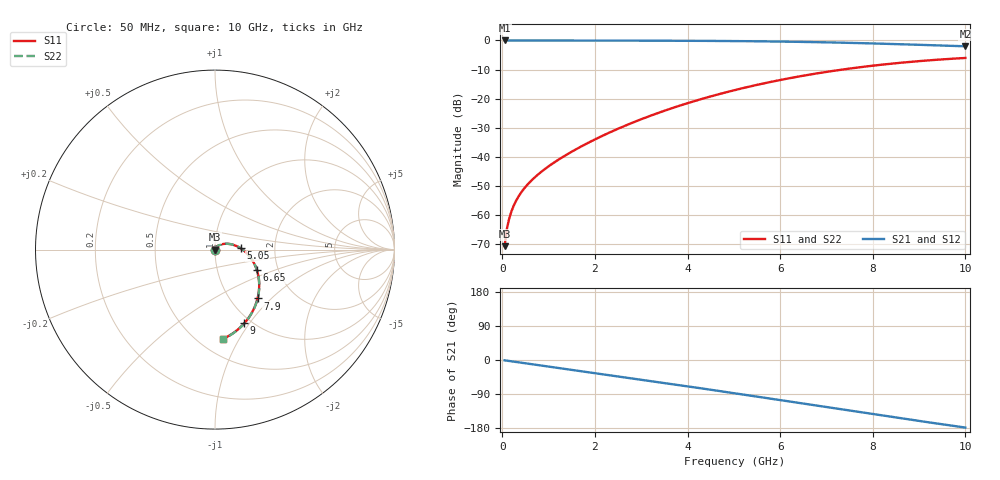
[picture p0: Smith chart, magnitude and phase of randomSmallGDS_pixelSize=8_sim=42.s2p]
! freq	dB(S11)	phase(S11)	dB(S12)	phase(S12)
!  dB(S21)	phase(S21)	dB(S22)	phase(S22)
!S-par simulation data
#  GHz  S  DB  R 50
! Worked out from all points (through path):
!   200 points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, 50 MHz to 10 GHz, reference 50 ohm
!   highest |S21| = 0.00 dB at 50 MHz (marker M1); lowest = -2.0 dB at 10 GHz (marker M2)
!   group delay of S21, straight-line fit = 49.9 ps
!   lowest |S11| = -70.6 dB at 50 MHz (marker M3), VSWR 1.00, Z = 50 + j0.0292 ohm
!   |S11| at or under -10 dB: start of sweep to 7.34 GHz
!   |S22| runs from -70.6 to -6.0 dB; largest |S21 - S12| = 0
!   S11 on the Smith chart (normalised r, x): 50 MHz: 1.00, +0.00; 5.05 GHz: 1.33, +0.02; 6.65 GHz: 1.55, -0.38; 7.9 GHz: 1.32, -0.83; 9 GHz: 0.93, -0.94; 10 GHz: 0.64, -0.86
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0.05  -70.62 83.1  -0.00 -0.9  -0.00 -0.9  -70.62 83.1
0.1  -64.63 85.4  -0.00 -1.7  -0.00 -1.7  -64.63 85.4
0.15  -61.09 85.7  -0.00 -2.6  -0.00 -2.6  -61.09 85.8
0.2  -58.57 85.5  -0.00 -3.5  -0.00 -3.5  -58.57 85.6
0.3  -54.97 84.6  -0.00 -5.2  -0.00 -5.2  -54.97 84.6
0.45  -51.28 82.7  -0.01 -7.8  -0.01 -7.8  -51.28 82.8
0.65  -47.75 79.9  -0.01 -11.2  -0.01 -11.2  -47.75 80.0
0.95  -43.78 75.4  -0.02 -16.4  -0.02 -16.4  -43.78 75.5
1.3  -40.07 69.9  -0.03 -22.4  -0.03 -22.4  -40.06 70.0
1.75  -36.01 62.3  -0.03 -30.1  -0.03 -30.1  -36.00 62.5
2.55  -29.96 48.3  -0.05 -43.9  -0.05 -43.9  -29.96 48.5
3.4  -24.69 33.0  -0.08 -58.8  -0.08 -58.8  -24.69 33.2
4.25  -20.34 17.7  -0.13 -73.9  -0.13 -73.9  -20.34 17.8
5.05  -16.92 3.1  -0.22 -88.4  -0.22 -88.4  -16.92 3.3
5.85  -14.06 -11.5  -0.35 -103.1  -0.35 -103.1  -14.06 -11.4
6.65  -11.69 -26.2  -0.54 -117.9  -0.54 -117.9  -11.69 -26.1
6.7  -11.56 -27.2  -0.56 -118.8  -0.56 -118.8  -11.55 -27.0
7.3  -10.09 -38.1  -0.75 -129.9  -0.75 -129.9  -10.09 -38.0
7.9  -8.85 -49.0  -0.98 -140.9  -0.98 -140.9  -8.85 -48.8
8.35  -8.05 -57.0  -1.18 -149.1  -1.18 -149.1  -8.05 -56.8
9  -7.09 -68.3  -1.49 -160.8  -1.49 -160.8  -7.09 -68.2
10  -6.01 -85.2  -2.01 -178.3  -2.01 -178.3  -6.01 -85.0
